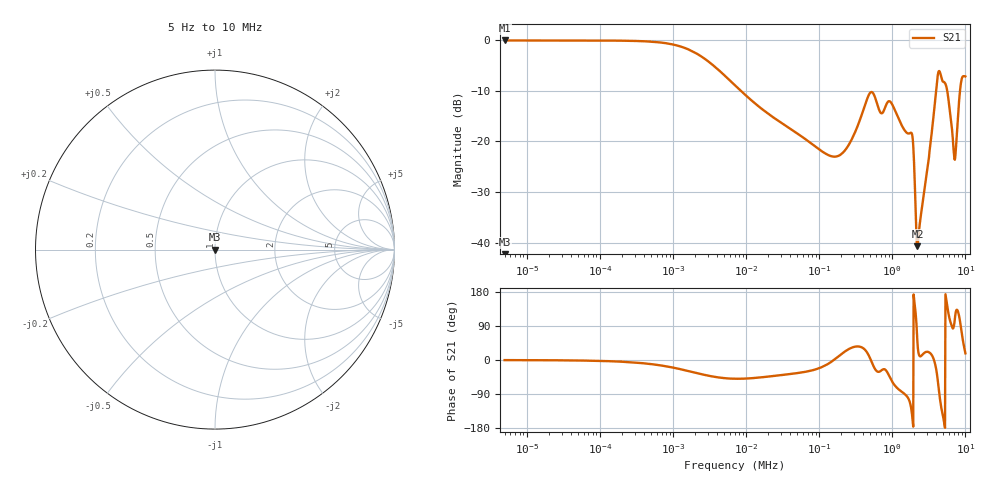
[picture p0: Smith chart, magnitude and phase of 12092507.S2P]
!Agilent Technologies,E5061B,MY49204007,A.02.12
!Date: Fri Sep 12 09:42:11 2025
!Data & Calibration Information:
!Freq	S11:SOLT2(OFF)	S21:SOLT2(OFF)	S12:SOLT2(OFF)	S22:SOLT2(OFF)
# Hz S dB R 50
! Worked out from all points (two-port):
!   1041 points, 5 Hz to 10 MHz, reference 50 ohm
!   highest |S21| = -0.05 dB at 5 Hz (marker M1); lowest = -40.7 dB at 2.207 MHz (marker M2)
!   |S21| within 3 dB of the highest: start of sweep to 2.355 kHz
!   lowest |S11| = - dB at 5 Hz (marker M3), VSWR 1.00, Z = 50 + j0 ohm
!   |S11| at or under -10 dB: start of sweep to end of sweep
!   S12 and S22 are empty: the file has one direction only
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5  -200.00 0.0  -0.05 -0.3  -200.00 0.0  -200.00 0.0
56.522  -200.00 0.0  -0.05 -1.4  -200.00 0.0  -200.00 0.0
632.897  -200.00 0.0  -0.40 -13.3  -200.00 0.0  -200.00 0.0
2229.669  -200.00 0.0  -2.83 -35.6  -200.00 0.0  -200.00 0.0
7154.49  -200.00 0.0  -8.97 -49.5  -200.00 0.0  -200.00 0.0
80111.67  -200.00 0.0  -20.50 -27.4  -200.00 0.0  -200.00 0.0
189469.2  -200.00 0.0  -22.74 11.4  -200.00 0.0  -200.00 0.0
496492.2  -200.00 0.0  -10.40 5.0  -200.00 0.0  -200.00 0.0
711609.1  -200.00 0.0  -14.43 -27.4  -200.00 0.0  -200.00 0.0
893075.1  -200.00 0.0  -12.05 -39.4  -200.00 0.0  -200.00 0.0
1839519  -200.00 0.0  -18.35 -135.1  -200.00 0.0  -200.00 0.0
2207202  -200.00 0.0  -40.67 47.6  -200.00 0.0  -200.00 0.0
2338499  -200.00 0.0  -37.21 11.9  -200.00 0.0  -200.00 0.0
3591133  -200.00 0.0  -16.23 7.7  -200.00 0.0  -200.00 0.0
3999130  -200.00 0.0  -9.49 -25.7  -200.00 0.0  -200.00 0.0
4315301  -200.00 0.0  -6.14 -75.0  -200.00 0.0  -200.00 0.0
5074112  -200.00 0.0  -8.23 -160.3  -200.00 0.0  -200.00 0.0
5860704  -200.00 0.0  -11.63 123.2  -200.00 0.0  -200.00 0.0
7080901  -200.00 0.0  -23.42 98.3  -200.00 0.0  -200.00 0.0
8198050  -200.00 0.0  -12.00 116.4  -200.00 0.0  -200.00 0.0
9038960  -200.00 0.0  -7.35 63.9  -200.00 0.0  -200.00 0.0
1e7  -200.00 0.0  -7.15 17.6  -200.00 0.0  -200.00 0.0
